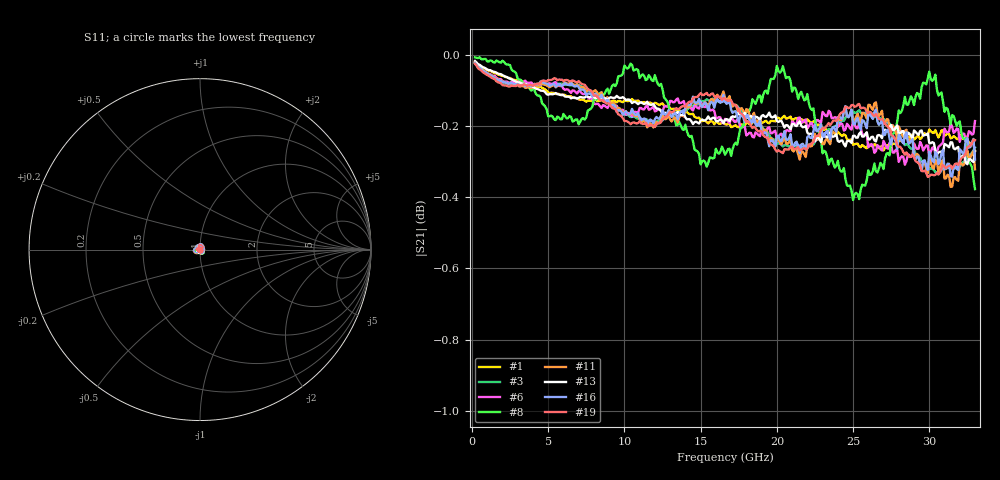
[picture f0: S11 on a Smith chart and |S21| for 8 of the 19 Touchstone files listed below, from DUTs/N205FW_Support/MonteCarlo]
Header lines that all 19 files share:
# GHZ S RI R 50
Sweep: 200 MHz to 33 GHz
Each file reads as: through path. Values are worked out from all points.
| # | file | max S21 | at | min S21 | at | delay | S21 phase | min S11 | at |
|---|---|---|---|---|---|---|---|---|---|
| 1 | N205FW_68.s2p | -0.02 dB | 200 MHz | -0.3 dB | 33 GHz | 248 ps | -42 deg at 16.6 GHz | -70.3 dB | 3.2 GHz |
| 2 | N205FW_73.s2p | -0.02 dB | 200 MHz | -0.4 dB | 30.4 GHz | 248 ps | -42 deg at 16.6 GHz | -69.6 dB | 200 MHz |
| 3 | N205FW_74.s2p | -0.02 dB | 200 MHz | -0.3 dB | 30.6 GHz | 248 ps | -42 deg at 16.6 GHz | -78.0 dB | 18.5 GHz |
| 4 | N205FW_75.s2p | 0.20 dB | 30 GHz | -0.6 dB | 25 GHz | 248 ps | -41 deg at 16.6 GHz | -67.0 dB | 17.8 GHz |
| 5 | N205FW_76.s2p | -0.01 dB | 200 MHz | -0.4 dB | 25.4 GHz | 248 ps | -42 deg at 16.6 GHz | -66.0 dB | 200 MHz |
| 6 | N205FW_77.s2p | -0.02 dB | 200 MHz | -0.3 dB | 28.4 GHz | 248 ps | -42 deg at 16.6 GHz | -68.0 dB | 13.6 GHz |
| 7 | N205FW_79.s2p | -0.02 dB | 200 MHz | -0.3 dB | 30.5 GHz | 248 ps | -42 deg at 16.6 GHz | -69.1 dB | 200 MHz |
| 8 | N205FW_80.s2p | -0.01 dB | 500 MHz | -0.4 dB | 25 GHz | 248 ps | -42 deg at 16.6 GHz | -65.7 dB | 200 MHz |
| 9 | N205FW_82.s2p | -0.01 dB | 200 MHz | -0.3 dB | 25.4 GHz | 248 ps | -42 deg at 16.6 GHz | -73.1 dB | 200 MHz |
| 10 | N205FW_85.s2p | -0.01 dB | 200 MHz | -0.3 dB | 26.5 GHz | 248 ps | -42 deg at 16.6 GHz | -72.4 dB | 21.3 GHz |
| 11 | N205FW_86.s2p | -0.02 dB | 200 MHz | -0.4 dB | 31.4 GHz | 248 ps | -42 deg at 16.6 GHz | -74.4 dB | 200 MHz |
| 12 | N205FW_87.s2p | -0.02 dB | 200 MHz | -0.3 dB | 32.9 GHz | 248 ps | -42 deg at 16.6 GHz | -71.7 dB | 200 MHz |
| 13 | N205FW_88.s2p | -0.02 dB | 200 MHz | -0.3 dB | 32.5 GHz | 248 ps | -42 deg at 16.6 GHz | -75.6 dB | 200 MHz |
| 14 | N205FW_91.s2p | -0.01 dB | 200 MHz | -0.3 dB | 25 GHz | 248 ps | -42 deg at 16.6 GHz | -68.2 dB | 3.3 GHz |
| 15 | N205FW_92.s2p | 0.04 dB | 30 GHz | -0.5 dB | 25.4 GHz | 248 ps | -42 deg at 16.6 GHz | -82.5 dB | 3.4 GHz |
| 16 | N205FW_94.s2p | -0.02 dB | 200 MHz | -0.3 dB | 31.5 GHz | 248 ps | -42 deg at 16.6 GHz | -74.3 dB | 200 MHz |
| 17 | N205FW_95.s2p | 0.18 dB | 30 GHz | -0.6 dB | 25 GHz | 248 ps | -42 deg at 16.6 GHz | -65.1 dB | 3.4 GHz |
| 18 | N205FW_97.s2p | -0.02 dB | 200 MHz | -0.3 dB | 28.4 GHz | 248 ps | -42 deg at 16.6 GHz | -70.4 dB | 200 MHz |
| 19 | N205FW_99.s2p | -0.02 dB | 200 MHz | -0.3 dB | 29.9 GHz | 248 ps | -42 deg at 16.6 GHz | -74.8 dB | 3.2 GHz |
